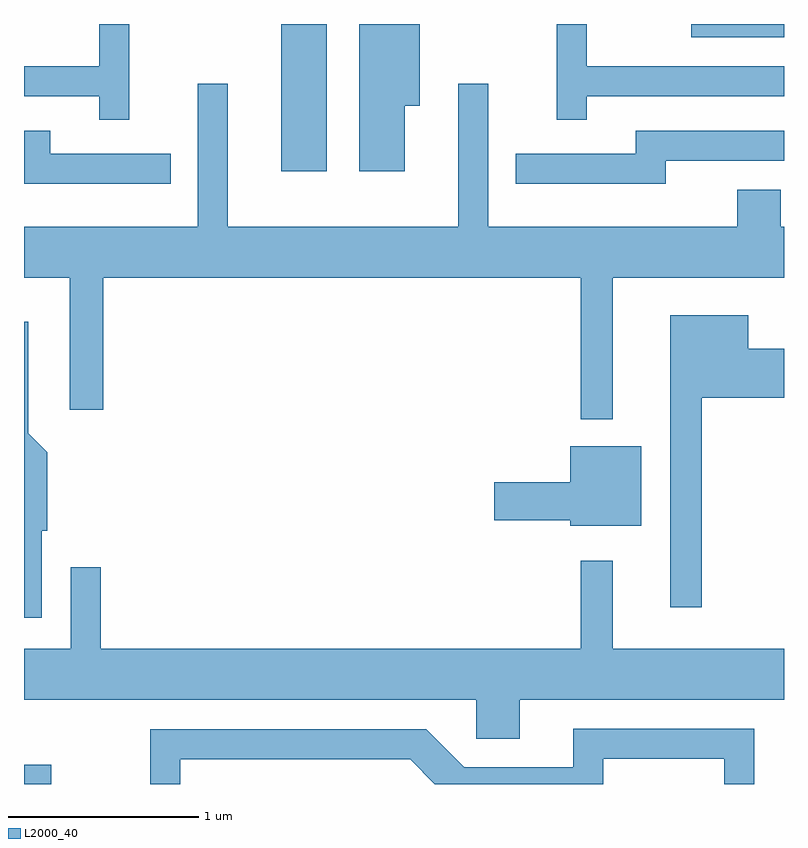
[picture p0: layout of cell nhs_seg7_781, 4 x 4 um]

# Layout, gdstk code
import gdstk
lib = gdstk.Library(unit=1e-6, precision=1e-09)
def R(c, l, rs):  # rectangles x0, y0, x1, y1
    for r in rs: c.add(gdstk.rectangle(r[:2], r[2:], *l))
def P(c, l, *ps):  # polygons
    for p in ps: c.add(gdstk.Polygon(p, *l))
L2000_40 = (2000, 40)

nhs_seg7_781 = lib.new_cell('nhs_seg7_781')
R(nhs_seg7_781, L2000_40, [(207.611,1778.252,207.754,1778.354), (208.966,1781.476,209.204,1782.252), (211.123,1782.181,211.611,1782.252)])
P(nhs_seg7_781, L2000_40, [(209.614,1781.821),(209.694,1781.821),(209.694,1782.252),(209.376,1782.252),(209.376,1781.476),(209.614,1781.476)],
  [(210.574,1781.871),(211.611,1781.871),(211.611,1782.029),(210.574,1782.029),(210.574,1782.252),(210.416,1782.252),(210.416,1781.748),(210.574,1781.748)],
  [(208.164,1782.252),(208.006,1782.252),(208.006,1782.029),(207.611,1782.029),(207.611,1781.871),(208.006,1781.871),(208.006,1781.748),(208.164,1781.748)],
  [(210.709,1780.916),(211.611,1780.916),(211.611,1781.184),(211.594,1781.184),(211.594,1781.379),(211.366,1781.379),(211.366,1781.184),(210.054,1781.184),(210.054,1781.938),(209.896,1781.938),(209.896,1781.184),(208.684,1781.184),(208.684,1781.938),(208.526,1781.938),(208.526,1781.184),(207.611,1781.184),(207.611,1780.916),(207.851,1780.916),(207.851,1780.221),(208.029,1780.221),(208.029,1780.916),(210.541,1780.916),(210.541,1780.173),(210.709,1780.173)],
  [(210.989,1781.531),(211.611,1781.531),(211.611,1781.689),(210.831,1781.689),(210.831,1781.569),(210.198,1781.569),(210.198,1781.411),(210.989,1781.411)],
  [(208.383,1781.569),(207.749,1781.569),(207.749,1781.689),(207.611,1781.689),(207.611,1781.411),(208.383,1781.411)],
  [(211.179,1780.286),(211.611,1780.286),(211.611,1780.544),(211.424,1780.544),(211.424,1780.719),(211.011,1780.719),(211.011,1779.183),(211.179,1779.183)],
  [(207.704,1779.586),(207.734,1779.586),(207.734,1779.997),(207.634,1780.097),(207.634,1780.684),(207.611,1780.684),(207.611,1779.126),(207.704,1779.126)],
  [(210.859,1780.029),(210.486,1780.029),(210.486,1779.839),(210.086,1779.839),(210.086,1779.641),(210.486,1779.641),(210.486,1779.611),(210.859,1779.611)],
  [(210.219,1778.696),(211.611,1778.696),(211.611,1778.964),(210.709,1778.964),(210.709,1779.428),(210.541,1779.428),(210.541,1778.964),(208.014,1778.964),(208.014,1779.393),(207.856,1779.393),(207.856,1778.964),(207.611,1778.964),(207.611,1778.696),(209.991,1778.696),(209.991,1778.491),(210.219,1778.491)],
  [(208.434,1778.381),(209.644,1778.381),(209.773,1778.252),(210.659,1778.252),(210.659,1778.386),(211.296,1778.386),(211.296,1778.252),(211.454,1778.252),(211.454,1778.544),(210.501,1778.544),(210.501,1778.339),(209.927,1778.339),(209.727,1778.539),(208.276,1778.539),(208.276,1778.252),(208.434,1778.252)])

lib.write_gds('nhs_seg7_781.gds')
